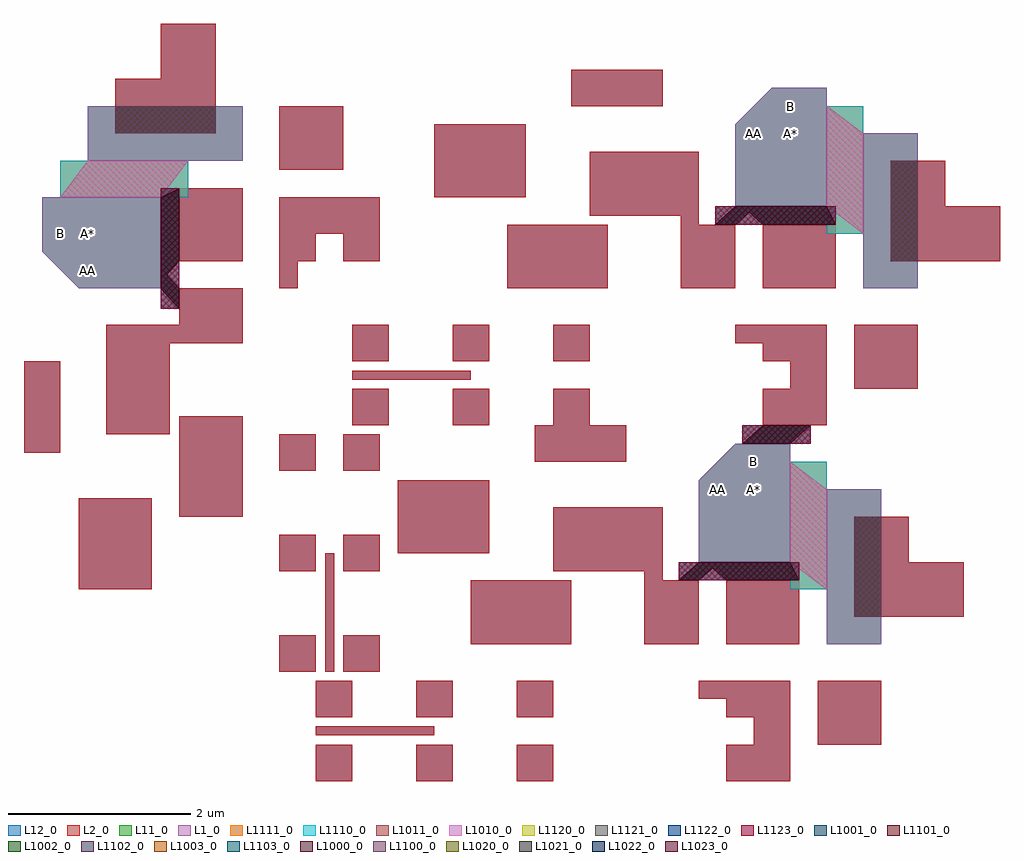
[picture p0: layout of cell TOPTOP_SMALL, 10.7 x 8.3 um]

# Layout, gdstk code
from math import pi, radians
import gdstk
lib = gdstk.Library(unit=1e-6, precision=1e-09)
def R(c, l, rs):  # rectangles x0, y0, x1, y1
    for r in rs: c.add(gdstk.rectangle(r[:2], r[2:], *l))
def A(c, l, x, y, w, h, nx, ny, dx, dy):  # array of equal rectangles
    R(c, l, [(x+i*dx, y+j*dy, x+i*dx+w, y+j*dy+h) for i in range(nx) for j in range(ny)])
def P(c, l, *ps):  # polygons
    for p in ps: c.add(gdstk.Polygon(p, *l))
L1_0 = (1, 0)
L2_0 = (2, 0)
L11_0 = (11, 0)
L12_0 = (12, 0)
L1000_0 = (1000, 0)
L1001_0 = (1001, 0)
L1002_0 = (1002, 0)
L1003_0 = (1003, 0)
L1010_0 = (1010, 0)
L1011_0 = (1011, 0)
L1020_0 = (1020, 0)
L1021_0 = (1021, 0)
L1022_0 = (1022, 0)
L1023_0 = (1023, 0)
L1100_0 = (1100, 0)
L1101_0 = (1101, 0)
L1102_0 = (1102, 0)
L1103_0 = (1103, 0)
L1110_0 = (1110, 0)
L1111_0 = (1111, 0)
L1120_0 = (1120, 0)
L1121_0 = (1121, 0)
L1122_0 = (1122, 0)
L1123_0 = (1123, 0)

top = lib.new_cell('TOP')
R(top, L1_0, [(-0.2,-4,0.4,-2.3)])
P(top, L1_0, [(-1.6,-3.1),(-1.6,-2.2),(-1.2,-1.8),(-0.6,-1.8),(-0.6,-3.1)])
A(top, L2_0, -5.8, -5.5, 0.4, 0.4, 3, 2, 1.1, 0.7)
R(top, L2_0, [(-0.3,-5.1,0.4,-4.4), (-5.8,-5,-4.5,-4.9), (-4.1,-4,-3,-3.3), (-1.3,-4,-0.5,-3.3), (-4.9,-3,-3.9,-2.2), (-3.4,-2,-2.4,-1.6)])
P(top, L2_0, [(0.1,-3.7),(0.1,-2.6),(0.7,-2.6),(0.7,-3.1),(1.3,-3.1),(1.3,-3.7)],
  [(-1.3,-5.5),(-1.3,-5.1),(-1,-5.1),(-1,-4.8),(-1.3,-4.8),(-1.3,-4.6),(-1.6,-4.6),(-1.6,-4.4),(-0.6,-4.4),(-0.6,-5.5)],
  [(-2.2,-4),(-2.2,-3.2),(-3.2,-3.2),(-3.2,-2.5),(-2,-2.5),(-2,-3.3),(-1.6,-3.3),(-1.6,-4)])
R(top, L1000_0, [(0.1,-3.7,0.4,-2.6)])
P(top, L1010_0, [(-0.199,-3.401),(-0.601,-3.101),(-0.601,-1.999),(-0.199,-2.299)])
P(top, L1020_0, [(-1.825,-3.301),(-1.601,-3.099),(-1.375,-3.099),(-1.599,-3.301)],
  [(-1.301,-3.301),(-1.525,-3.099),(-0.599,-3.099),(-0.499,-3.301)])
R(top, L1100_0, [(0.1,-3.7,0.4,-2.6)])
R(top, L1110_0, [(-0.6,-3.4,-0.2,-2)])
R(top, L1120_0, [(-1.824,-3.3,-1.376,-3.1), (-1.524,-3.3,-0.5,-3.1)])
top.add(gdstk.Label('AA', (-1.4,-2.3), layer=1, texttype=0))
top.add(gdstk.Label('A*', (-1,-2.3), layer=1, texttype=0))
top.add(gdstk.Label('B', (-1,-2), layer=1, texttype=0))

toptop_small = lib.new_cell('TOPTOP_SMALL')
R(toptop_small, L11_0, [(5.6,1.5,6.2,3.2), (6,5.4,6.6,7.1), (-2.5,6.8,-0.8,7.4)])
P(toptop_small, L11_0, [(4.2,2.4),(4.2,3.3),(4.6,3.7),(5.2,3.7),(5.2,2.4)],
  [(-2.6,5.4),(-3,5.8),(-3,6.4),(-1.7,6.4),(-1.7,5.4)],
  [(4.6,6.3),(4.6,7.2),(5,7.6),(5.6,7.6),(5.6,6.3)])
A(toptop_small, L12_0, 0, 0, 0.4, 0.4, 3, 2, 1.1, 0.7)
A(toptop_small, L12_0, -0.4, 1.2, 0.4, 0.4, 1, 3, 0, 1.1)
A(toptop_small, L12_0, 0.3, 1.2, 0.4, 0.4, 1, 3, 0, 1.1)
A(toptop_small, L12_0, 0.4, 3.9, 0.4, 0.4, 3, 2, 1.1, 0.7)
R(toptop_small, L12_0, [(5.5,0.4,6.2,1.1), (0,0.5,1.3,0.6), (0.1,1.2,0.2,2.5), (1.7,1.5,2.8,2.2), (4.5,1.5,5.3,2.2), (-2.6,2.1,-1.8,3.1), (0.9,2.5,1.9,3.3), (-1.5,2.9,-0.8,4), (2.4,3.5,3.4,3.9), (-3.2,3.6,-2.8,4.6), (5.9,4.3,6.6,5), (0.4,4.4,1.7,4.5), (2.1,5.4,3.2,6.1), (4.9,5.4,5.7,6.1), (-1.5,5.7,-0.8,6.5), (1.3,6.4,2.3,7.2), (-0.4,6.7,0.3,7.4), (2.8,7.4,3.8,7.8)])
P(toptop_small, L12_0, [(5.9,1.8),(5.9,2.9),(6.5,2.9),(6.5,2.4),(7.1,2.4),(7.1,1.8)],
  [(4.5,0),(4.5,0.4),(4.8,0.4),(4.8,0.7),(4.5,0.7),(4.5,0.9),(4.2,0.9),(4.2,1.1),(5.2,1.1),(5.2,0)],
  [(3.6,1.5),(3.6,2.3),(2.6,2.3),(2.6,3),(3.8,3),(3.8,2.2),(4.2,2.2),(4.2,1.5)],
  [(-2.2,7.1),(-2.2,7.7),(-1.7,7.7),(-1.7,8.3),(-1.1,8.3),(-1.1,7.1)],
  [(-0.4,5.4),(-0.4,6.4),(0.7,6.4),(0.7,5.7),(0.3,5.7),(0.3,6),(0,6),(0,5.7),(-0.2,5.7),(-0.2,5.4)],
  [(-2.3,3.8),(-2.3,5),(-1.5,5),(-1.5,5.4),(-0.8,5.4),(-0.8,4.8),(-1.6,4.8),(-1.6,3.8)],
  [(6.3,5.7),(6.3,6.8),(6.9,6.8),(6.9,6.3),(7.5,6.3),(7.5,5.7)],
  [(4.9,3.9),(4.9,4.3),(5.2,4.3),(5.2,4.6),(4.9,4.6),(4.9,4.8),(4.6,4.8),(4.6,5),(5.6,5),(5.6,3.9)],
  [(4,5.4),(4,6.2),(3,6.2),(3,6.9),(4.2,6.9),(4.2,6.1),(4.6,6.1),(4.6,5.4)])
R(toptop_small, L1001_0, [(5.9,1.8,6.2,2.9), (6.3,5.7,6.6,6.8), (-2.2,7.1,-1.1,7.4)])
R(toptop_small, L1002_0, [(5.9,1.8,6.2,2.9), (6.3,5.7,6.6,6.8), (-2.2,7.1,-1.1,7.4)])
R(toptop_small, L1003_0, [(5.9,1.8,6.2,2.9), (6.3,5.7,6.6,6.8), (-2.2,7.1,-1.1,7.4)])
P(toptop_small, L1011_0, [(5.601,2.099),(5.199,2.399),(5.199,3.501),(5.601,3.201)],
  [(-2.801,6.399),(-2.501,6.801),(-1.399,6.801),(-1.699,6.399)],
  [(6.001,5.999),(5.599,6.299),(5.599,7.401),(6.001,7.101)])
P(toptop_small, L1020_0, [(4.675,3.699),(4.899,3.901),(5.425,3.901),(5.201,3.699)])
P(toptop_small, L1021_0, [(3.975,2.199),(4.199,2.401),(4.425,2.401),(4.201,2.199)],
  [(-1.701,5.475),(-1.701,6.401),(-1.499,6.501),(-1.499,5.699)],
  [(-1.499,5.175),(-1.701,5.399),(-1.701,5.625),(-1.499,5.401)],
  [(4.675,3.699),(4.899,3.901),(5.425,3.901),(5.201,3.699)],
  [(4.375,6.099),(4.599,6.301),(4.825,6.301),(4.601,6.099)],
  [(4.499,2.199),(4.275,2.401),(5.201,2.401),(5.301,2.199)],
  [(4.899,6.099),(4.675,6.301),(5.601,6.301),(5.701,6.099)])
P(toptop_small, L1022_0, [(3.975,2.199),(4.199,2.401),(4.425,2.401),(4.201,2.199)],
  [(-1.701,5.475),(-1.701,6.401),(-1.499,6.501),(-1.499,5.699)],
  [(-1.499,5.175),(-1.701,5.399),(-1.701,5.625),(-1.499,5.401)],
  [(4.675,3.699),(4.899,3.901),(5.425,3.901),(5.201,3.699)],
  [(4.375,6.099),(4.599,6.301),(4.825,6.301),(4.601,6.099)],
  [(4.499,2.199),(4.275,2.401),(5.201,2.401),(5.301,2.199)],
  [(4.899,6.099),(4.675,6.301),(5.601,6.301),(5.701,6.099)])
P(toptop_small, L1023_0, [(3.975,2.199),(4.199,2.401),(4.425,2.401),(4.201,2.199)],
  [(-1.701,5.475),(-1.701,6.401),(-1.499,6.501),(-1.499,5.699)],
  [(-1.499,5.175),(-1.701,5.399),(-1.701,5.625),(-1.499,5.401)],
  [(4.675,3.699),(4.899,3.901),(5.425,3.901),(5.201,3.699)],
  [(4.375,6.099),(4.599,6.301),(4.825,6.301),(4.601,6.099)],
  [(4.499,2.199),(4.275,2.401),(5.201,2.401),(5.301,2.199)],
  [(4.899,6.099),(4.675,6.301),(5.601,6.301),(5.701,6.099)])
R(toptop_small, L1101_0, [(5.9,1.8,6.2,2.9), (6.3,5.7,6.6,6.8), (-2.2,7.1,-1.1,7.4)])
R(toptop_small, L1102_0, [(5.9,1.8,6.2,2.9), (6.3,5.7,6.6,6.8), (-2.2,7.1,-1.1,7.4)])
R(toptop_small, L1103_0, [(5.9,1.8,6.2,2.9), (6.3,5.7,6.6,6.8), (-2.2,7.1,-1.1,7.4)])
R(toptop_small, L1111_0, [(5.2,2.1,5.6,3.5), (5.6,6,6,7.4), (-2.8,6.4,-1.4,6.8)])
R(toptop_small, L1120_0, [(4.676,3.7,5.424,3.9)])
R(toptop_small, L1121_0, [(3.976,2.2,4.424,2.4), (4.276,2.2,5.3,2.4), (4.676,3.7,5.424,3.9), (-1.7,5.176,-1.5,5.624), (-1.7,5.476,-1.5,6.5), (4.376,6.1,4.824,6.3), (4.676,6.1,5.7,6.3)])
R(toptop_small, L1122_0, [(3.976,2.2,4.424,2.4), (4.276,2.2,5.3,2.4), (4.676,3.7,5.424,3.9), (-1.7,5.176,-1.5,5.624), (-1.7,5.476,-1.5,6.5), (4.376,6.1,4.824,6.3), (4.676,6.1,5.7,6.3)])
R(toptop_small, L1123_0, [(3.976,2.2,4.424,2.4), (4.276,2.2,5.3,2.4), (4.676,3.7,5.424,3.9), (-1.7,5.176,-1.5,5.624), (-1.7,5.476,-1.5,6.5), (4.376,6.1,4.824,6.3), (4.676,6.1,5.7,6.3)])
toptop_small.add(gdstk.Reference(top, (5.8,5.5)))
toptop_small.add(gdstk.Reference(top, (6.2,9.4)))
toptop_small.add(gdstk.Reference(top, (-4.8,7), rotation=pi/2))
toptop_small.add(gdstk.Label('AA', (4.4,3.2), layer=11, texttype=0))
toptop_small.add(gdstk.Label('A*', (4.8,3.2), layer=11, texttype=0))
toptop_small.add(gdstk.Label('B', (4.8,3.5), layer=11, texttype=0))
toptop_small.add(gdstk.Label('AA', (-2.5,5.6), layer=11, texttype=0))
toptop_small.add(gdstk.Label('A*', (-2.5,6), layer=11, texttype=0))
toptop_small.add(gdstk.Label('B', (-2.8,6), layer=11, texttype=0))
toptop_small.add(gdstk.Label('AA', (4.8,7.1), layer=11, texttype=0))
toptop_small.add(gdstk.Label('A*', (5.2,7.1), layer=11, texttype=0))
toptop_small.add(gdstk.Label('B', (5.2,7.4), layer=11, texttype=0))

lib.write_gds('TOPTOP_SMALL.gds')
